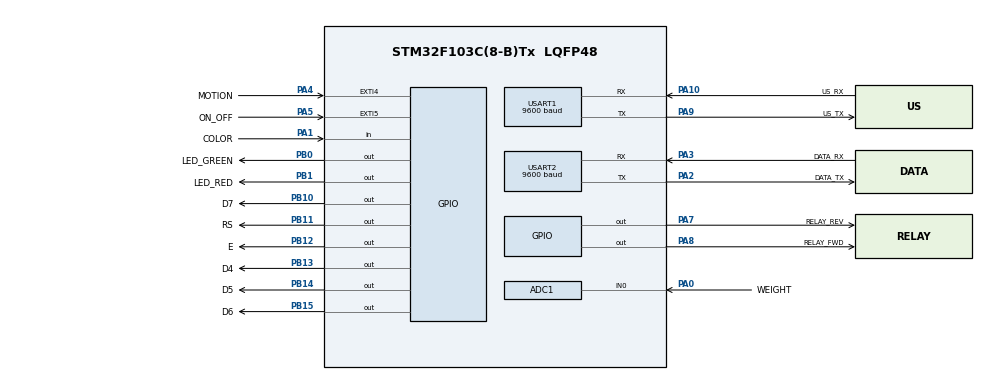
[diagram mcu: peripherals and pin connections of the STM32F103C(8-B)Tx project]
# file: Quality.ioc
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ADC1.Channel-0\#ChannelRegularConversion=ADC_CHANNEL_0
ADC1.NbrOfConversion=1
ADC1.NbrOfConversionFlag=1
ADC1.Rank-0\#ChannelRegularConversion=1
ADC1.SamplingTime-0\#ChannelRegularConversion=ADC_SAMPLETIME_55CYCLES_5
ADC1.master=1
Mcu.Family=STM32F1
Mcu.Name=STM32F103C(8-B)Tx
Mcu.Package=LQFP48
NVIC.EXTI4_IRQn=true\:0\:0\:false\:false\:true\:true\:true\:true
NVIC.EXTI9_5_IRQn=true\:0\:0\:false\:false\:true\:true\:true\:true
NVIC.PriorityGroup=NVIC_PRIORITYGROUP_4
PA0-WKUP.GPIO_Label=WEIGHT
PA0-WKUP.Signal=ADCx_IN0
PA1.GPIO_Label=COLOR
PA1.Signal=GPIO_Input
PA10.GPIO_Label=US_RX
PA10.Mode=Asynchronous
PA10.Signal=USART1_RX
PA2.GPIO_Label=DATA_TX
PA2.Mode=Asynchronous
PA2.Signal=USART2_TX
PA3.GPIO_Label=DATA_RX
PA3.Mode=Asynchronous
PA3.Signal=USART2_RX
PA4.GPIO_Label=MOTION
PA4.Signal=GPXTI4
PA5.GPIO_Label=ON_OFF
PA5.GPIO_ModeDefaultEXTI=GPIO_MODE_IT_FALLING
PA5.GPIO_PuPd=GPIO_PULLUP
PA5.Signal=GPXTI5
PA7.GPIO_Label=RELAY_REV
PA7.Signal=GPIO_Output
PA8.GPIO_Label=RELAY_FWD
PA8.Signal=GPIO_Output
PA9.GPIO_Label=US_TX
PA9.Mode=Asynchronous
PA9.Signal=USART1_TX
PB0.GPIO_Label=LED_GREEN
PB0.Signal=GPIO_Output
PB1.GPIO_Label=LED_RED
PB1.Signal=GPIO_Output
PB10.GPIO_Label=D7
PB10.Signal=GPIO_Output
PB11.GPIO_Label=RS
PB11.Signal=GPIO_Output
PB12.GPIO_Label=E
PB12.Signal=GPIO_Output
PB13.GPIO_Label=D4
PB13.Signal=GPIO_Output
PB14.GPIO_Label=D5
PB14.Signal=GPIO_Output
PB15.GPIO_Label=D6
PB15.Signal=GPIO_Output
ProjectManager.HeapSize=0x200
ProjectManager.StackSize=0x400
ProjectManager.TargetToolchain=MDK-ARM V5.32
RCC.APB1Freq_Value=8000000
RCC.APB2Freq_Value=8000000
SH.ADCx_IN0.0=ADC1_IN0,IN0
USART1.BaudRate=9600
USART1.VirtualMode=VM_ASYNC
USART2.BaudRate=9600
USART2.VirtualMode=VM_ASYNC
VP_SYS_VS_ND.Mode=No_Debug
board=custom

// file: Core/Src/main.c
/* USER CODE BEGIN Header */
/**
  ******************************************************************************
  * @file           : main.c
  * @brief          : Main program body
  ******************************************************************************
  * @attention
  *
  * Copyright (c) 2026 STMicroelectronics.
  * All rights reserved.
  *
  * This software is licensed under terms that can be found in the LICENSE file
  * in the root directory of this software component.
  * If no LICENSE file comes with this software, it is provided AS-IS.
  *
  ******************************************************************************
  */
/* USER CODE END Header */
#include "main.h"

/* USER CODE BEGIN Includes */
#include <stdio.h>
#include <string.h>
/* USER CODE END Includes */

/* USER CODE BEGIN PTD */
#define HISTORY_SIZE 20
#define LCD_COLS     20

typedef enum
{
  LCD_STATE_OFF = 0,
  LCD_STATE_WAIT,
  LCD_STATE_REPORT
}LCD_StateTypeDef;

typedef struct
{
  uint8_t valid;
  uint8_t status;
  uint8_t hour;
  uint8_t minute;
  uint8_t second;
}ProductRecord;
/* USER CODE END PTD */

/* USER CODE BEGIN PD */
#define PRODUCT_PASS    1
#define PRODUCT_REJECT  0
#define WEIGHT_MIN_ADC   100
#define WEIGHT_MAX_ADC   3000
#define LENGTH_MIN_CM    5
#define LENGTH_MAX_CM    12
#define COLOR_OK_STATE   GPIO_PIN_SET
/* USER CODE END PD */

ADC_HandleTypeDef hadc1;

UART_HandleTypeDef huart1;
UART_HandleTypeDef huart2;

/* USER CODE BEGIN PV */
uint8_t system_on = 0;
uint8_t motion_flag = 0;
uint8_t product_busy = 0;

uint32_t total_count = 0;
uint32_t pass_count = 0;
uint32_t reject_count = 0;

uint8_t last_product_valid = 0;
uint8_t last_product_status = PRODUCT_REJECT;

uint16_t adc_value = 0;
uint8_t color_value = 0;

uint8_t relay_busy = 0;
uint8_t relay_phase = 0;
uint32_t relay_tick = 0;

uint8_t report_active = 0;
uint32_t report_tick = 0;

LCD_StateTypeDef lcd_state = LCD_STATE_OFF;

ProductRecord history[HISTORY_SIZE];
uint8_t history_index = 0;

uint16_t length_value = 0;
uint8_t ultra_rx_buf[8];

char lcd_text[21];
char uart_text[160];
/* USER CODE END PV */

void SystemClock_Config(void);
static void MX_GPIO_Init(void);
static void MX_ADC1_Init(void);
static void MX_USART1_UART_Init(void);
static void MX_USART2_UART_Init(void);

void Update_Ultrasonic_Data(void);
/* USER CODE BEGIN PFP */
void LCD_Send4Bit(uint8_t data);
void LCD_SendCommand(uint8_t cmd);
void LCD_SendData(uint8_t data);
void LCD_Init_20x4(void);
void LCD_SetCursor(uint8_t row, uint8_t col);
void LCD_SendString(char *str);
void LCD_PrintLine(uint8_t row, char *text);

void System_ResetAllData(void);
void Get_SystemTime(uint8_t *hour, uint8_t *minute, uint8_t *second);
void Save_History(uint8_t status);
uint8_t Check_ProductStatus(void);
void Process_Product(void);
void Update_LCD(void);
void Update_Relay(void);
void Send_UART_Report(void);
uint16_t Read_Ultrasonic_DistanceCm(void);
/* USER CODE END PFP */

/* USER CODE BEGIN 0 */
void LCD_Send4Bit(uint8_t data)
{
  HAL_GPIO_WritePin(D4_GPIO_Port, D4_Pin, (GPIO_PinState)((data >> 0) & 0x01));
  HAL_GPIO_WritePin(D5_GPIO_Port, D5_Pin, (GPIO_PinState)((data >> 1) & 0x01));
  HAL_GPIO_WritePin(D6_GPIO_Port, D6_Pin, (GPIO_PinState)((data >> 2) & 0x01));
  HAL_GPIO_WritePin(D7_GPIO_Port, D7_Pin, (GPIO_PinState)((data >> 3) & 0x01));

  HAL_GPIO_WritePin(E_GPIO_Port, E_Pin, GPIO_PIN_SET);
  HAL_Delay(1);
  HAL_GPIO_WritePin(E_GPIO_Port, E_Pin, GPIO_PIN_RESET);
  HAL_Delay(1);
}

void LCD_SendCommand(uint8_t cmd)
{
  HAL_GPIO_WritePin(RS_GPIO_Port, RS_Pin, GPIO_PIN_RESET);
  LCD_Send4Bit((cmd >> 4) & 0x0F);
  LCD_Send4Bit(cmd & 0x0F);
}

void LCD_SendData(uint8_t data)
{
  HAL_GPIO_WritePin(RS_GPIO_Port, RS_Pin, GPIO_PIN_SET);
  LCD_Send4Bit((data >> 4) & 0x0F);
  LCD_Send4Bit(data & 0x0F);
}

void LCD_Init_20x4(void)
{
  HAL_Delay(40);

  HAL_GPIO_WritePin(RS_GPIO_Port, RS_Pin, GPIO_PIN_RESET);
  HAL_GPIO_WritePin(E_GPIO_Port, E_Pin, GPIO_PIN_RESET);

  LCD_Send4Bit(0x03);
  HAL_Delay(5);
  LCD_Send4Bit(0x03);
  HAL_Delay(1);
  LCD_Send4Bit(0x03);
  HAL_Delay(1);
  LCD_Send4Bit(0x02);

  LCD_SendCommand(0x28);
  LCD_SendCommand(0x0C);
  LCD_SendCommand(0x06);
  LCD_SendCommand(0x01);
  HAL_Delay(2);
}

void LCD_SetCursor(uint8_t row, uint8_t col)
{
  uint8_t address = 0;

  switch(row)
  {
    case 0: address = 0x00 + col; break;
    case 1: address = 0x40 + col; break;
    case 2: address = 0x14 + col; break;
    case 3: address = 0x54 + col; break;
    default: address = 0x00 + col; break;
  }

  LCD_SendCommand(0x80 | address);
}

void LCD_SendString(char *str)
{
  while(*str)
  {
    LCD_SendData((uint8_t)*str);
    str++;
  }
}

void LCD_PrintLine(uint8_t row, char *text)
{
  uint8_t i;
  LCD_SetCursor(row, 0);

  for(i = 0; i < LCD_COLS; i++)
  {
    if(text[i] != '\0')
      LCD_SendData(text[i]);
    else
      LCD_SendData(' ');
  }
}

void System_ResetAllData(void)
{
  uint8_t i;

  total_count = 0;
  pass_count = 0;
  reject_count = 0;

  last_product_valid = 0;
  last_product_status = PRODUCT_REJECT;

  motion_flag = 0;
  product_busy = 0;

  adc_value = 0;
  color_value = 0;

  relay_busy = 0;
  relay_phase = 0;
  relay_tick = 0;

  report_active = 0;
  report_tick = 0;

  history_index = 0;
  for(i = 0; i < HISTORY_SIZE; i++)
  {
    history[i].valid = 0;
    history[i].status = PRODUCT_REJECT;
    history[i].hour = 0;
    history[i].minute = 0;
    history[i].second = 0;
  }

  HAL_GPIO_WritePin(LED_GREEN_GPIO_Port, LED_GREEN_Pin, GPIO_PIN_RESET);
  HAL_GPIO_WritePin(LED_RED_GPIO_Port, LED_RED_Pin, GPIO_PIN_RESET);
  HAL_GPIO_WritePin(RELAY_FWD_GPIO_Port, RELAY_FWD_Pin, GPIO_PIN_RESET);
  HAL_GPIO_WritePin(RELAY_REV_GPIO_Port, RELAY_REV_Pin, GPIO_PIN_RESET);
}

void Get_SystemTime(uint8_t *hour, uint8_t *minute, uint8_t *second)
{
  uint32_t total_seconds = HAL_GetTick() / 1000;
  *hour   = (total_seconds / 3600) % 24;
  *minute = (total_seconds / 60) % 60;
  *second = total_seconds % 60;
}

void Save_History(uint8_t status)
{
  uint8_t hour, minute, second;

  Get_SystemTime(&hour, &minute, &second);

  history[history_index].valid = 1;
  history[history_index].status = status;
  history[history_index].hour = hour;
  history[history_index].minute = minute;
  history[history_index].second = second;

  history_index++;
  if(history_index >= HISTORY_SIZE)
    history_index = 0;
}

uint8_t Check_ProductStatus(void)
{
  uint8_t weight_ok;
  uint8_t color_ok;
	uint8_t length_ok = 0;

	Update_Ultrasonic_Data();
  HAL_ADC_Start(&hadc1);
	HAL_Delay(2);
  HAL_ADC_PollForConversion(&hadc1, 20);
  adc_value = HAL_ADC_GetValue(&hadc1);
  HAL_ADC_Stop(&hadc1);

	color_value = (uint8_t)HAL_GPIO_ReadPin(COLOR_GPIO_Port, COLOR_Pin);

  if((adc_value >= WEIGHT_MIN_ADC) && (adc_value <= WEIGHT_MAX_ADC))
    weight_ok = 1;
  else
    weight_ok = 0;

  if(color_value == COLOR_OK_STATE)
    color_ok = 1;
  else
    color_ok = 0;

	if((length_value >= LENGTH_MIN_CM) && (length_value <= LENGTH_MAX_CM))
		length_ok = 1;
	else
		length_ok = 0;

  if((weight_ok == 1))
    return PRODUCT_PASS;
  else
    return PRODUCT_REJECT;
}

void Send_UART_Report(void)
{
  uint16_t len;
  uint8_t i;
  uint8_t index;

  len = (uint16_t)sprintf(uart_text, "TOTAL=%lu,PASS=%lu,REJECT=%lu\r\n",
                          total_count, pass_count, reject_count);
  HAL_UART_Transmit(&huart2, (uint8_t*)uart_text, len, 200);

  len = (uint16_t)sprintf(uart_text, "LAST20:\r\n");
  HAL_UART_Transmit(&huart2, (uint8_t*)uart_text, len, 200);

  for(i = 0; i < HISTORY_SIZE; i++)
  {
    index = (history_index + i) % HISTORY_SIZE;

    if(history[index].valid == 1)
    {
      len = (uint16_t)sprintf(uart_text, "%02d) %s %02d:%02d:%02d\r\n",
                              i + 1,
                              (history[index].status == PRODUCT_PASS) ? "PASS" : "REJECT",
                              history[index].hour,
                              history[index].minute,
                              history[index].second);
      HAL_UART_Transmit(&huart2, (uint8_t*)uart_text, len, 200);
    }
  }
}

void Process_Product(void)
{
  uint8_t status;

  motion_flag = 0;
  product_busy = 1;

  status = Check_ProductStatus();
  total_count++;
  last_product_valid = 1;
  last_product_status = status;

  if(status == PRODUCT_PASS)
  {
    pass_count++;
    HAL_GPIO_WritePin(LED_GREEN_GPIO_Port, LED_GREEN_Pin, GPIO_PIN_SET);
    HAL_GPIO_WritePin(LED_RED_GPIO_Port, LED_RED_Pin, GPIO_PIN_RESET);

    HAL_GPIO_WritePin(RELAY_FWD_GPIO_Port, RELAY_FWD_Pin, GPIO_PIN_RESET);
    HAL_GPIO_WritePin(RELAY_REV_GPIO_Port, RELAY_REV_Pin, GPIO_PIN_RESET);
  }
  else
  {
    reject_count++;
    HAL_GPIO_WritePin(LED_GREEN_GPIO_Port, LED_GREEN_Pin, GPIO_PIN_RESET);
    HAL_GPIO_WritePin(LED_RED_GPIO_Port, LED_RED_Pin, GPIO_PIN_SET);

    HAL_GPIO_WritePin(RELAY_FWD_GPIO_Port, RELAY_FWD_Pin, GPIO_PIN_SET);
    HAL_GPIO_WritePin(RELAY_REV_GPIO_Port, RELAY_REV_Pin, GPIO_PIN_RESET);

    relay_busy = 1;
    relay_phase = 1;
    relay_tick = HAL_GetTick();
  }

  Save_History(status);
  sprintf(uart_text, "ADC=%u COLOR=%u LENGTH=%u STATUS=%s\r\n",
        adc_value,
        color_value,
				length_value,
        (status == PRODUCT_PASS) ? "PASS" : "REJECT");
  HAL_UART_Transmit(&huart2, (uint8_t*)uart_text, strlen(uart_text), 200);

  Send_UART_Report();

  report_active = 1;
  report_tick = HAL_GetTick();
  lcd_state = LCD_STATE_REPORT;

  product_busy = 0;
}

void Update_Relay(void)
{
  if(relay_busy == 1)
  {
    if(relay_phase == 1)
    {
      if((HAL_GetTick() - relay_tick) >= 500)
      {
        HAL_GPIO_WritePin(RELAY_FWD_GPIO_Port, RELAY_FWD_Pin, GPIO_PIN_RESET);
        HAL_GPIO_WritePin(RELAY_REV_GPIO_Port, RELAY_REV_Pin, GPIO_PIN_SET);

        relay_phase = 2;
        relay_tick = HAL_GetTick();
      }
    }
    else if(relay_phase == 2)
    {
      if((HAL_GetTick() - relay_tick) >= 800)
      {
        HAL_GPIO_WritePin(RELAY_FWD_GPIO_Port, RELAY_FWD_Pin, GPIO_PIN_RESET);
        HAL_GPIO_WritePin(RELAY_REV_GPIO_Port, RELAY_REV_Pin, GPIO_PIN_RESET);

        relay_phase = 0;
        relay_busy = 0;
      }
    }
  }
}

void Update_LCD(void)
{
  uint8_t hour, minute, second;

  Get_SystemTime(&hour, &minute, &second);

  switch(lcd_state)
  {
    case LCD_STATE_OFF:
      LCD_PrintLine(0, "TIME 00:00:00       ");
      LCD_PrintLine(1, "TOTAL: 0            ");
      LCD_PrintLine(2, "PASS:0 REJECT:0     ");
      LCD_PrintLine(3, "SYSTEM OFF          ");
      break;

    case LCD_STATE_WAIT:
      sprintf(lcd_text, "TIME %02d:%02d:%02d       ", hour, minute, second);
      LCD_PrintLine(0, lcd_text);

      sprintf(lcd_text, "TOTAL: %lu          ", total_count);
      LCD_PrintLine(1, lcd_text);

      sprintf(lcd_text, "PASS:%lu REJECT:%lu", pass_count, reject_count);
      LCD_PrintLine(2, lcd_text);

      LCD_PrintLine(3, "WAITING PRODUCT     ");
      break;

    case LCD_STATE_REPORT:
      sprintf(lcd_text, "TIME %02d:%02d:%02d       ", hour, minute, second);
      LCD_PrintLine(0, lcd_text);

      sprintf(lcd_text, "TOTAL: %lu          ", total_count);
      LCD_PrintLine(1, lcd_text);

      sprintf(lcd_text, "PASS:%lu REJECT:%lu", pass_count, reject_count);
      LCD_PrintLine(2, lcd_text);

			if((HAL_GetTick() - report_tick) >= 2000)
			{
				report_active = 0;
				lcd_state = LCD_STATE_WAIT;

				HAL_GPIO_WritePin(LED_GREEN_GPIO_Port, LED_GREEN_Pin, GPIO_PIN_RESET);
				HAL_GPIO_WritePin(LED_RED_GPIO_Port, LED_RED_Pin, GPIO_PIN_RESET);
			}

      if(last_product_valid == 1)
      {
        if(last_product_status == PRODUCT_PASS)
          LCD_PrintLine(3, "LAST: PASS          ");
        else
          LCD_PrintLine(3, "LAST: REJECT        ");
      }
      else
      {
        LCD_PrintLine(3, "NO PRODUCT          ");
      }

      if((HAL_GetTick() - report_tick) >= 2000)
      {
        report_active = 0;
        lcd_state = LCD_STATE_WAIT;
      }
      break;

    default:
      lcd_state = LCD_STATE_OFF;
      break;
  }
}

void HAL_GPIO_EXTI_Callback(uint16_t GPIO_Pin)
{
  if(GPIO_Pin == ON_OFF_Pin)
  {
    if(system_on == 0)
    {
      system_on = 1;
      System_ResetAllData();
      lcd_state = LCD_STATE_WAIT;
    }
    else
    {
      system_on = 0;
      System_ResetAllData();
      lcd_state = LCD_STATE_OFF;
    }
  }

  if(GPIO_Pin == MOTION_Pin)
  {
    if((system_on == 1) && (product_busy == 0))
      motion_flag = 1;
  }
}
void Update_Ultrasonic_Data(void)
{
  uint8_t cmd = 0x55;

  HAL_UART_Transmit(&huart1, &cmd, 1, 50);

  if(HAL_UART_Receive(&huart1, ultra_rx_buf, 2, 100) == HAL_OK)
  {
    length_value = (ultra_rx_buf[0] << 8) | ultra_rx_buf[1];
  }
}

/* USER CODE END 0 */

int main(void)
{

  /* MCU Configuration--------------------------------------------------------*/

  /* Reset of all peripherals, Initializes the Flash interface and the Systick. */
  HAL_Init();

  /* Configure the system clock */
  SystemClock_Config();

  /* Initialize all configured peripherals */
  MX_GPIO_Init();
  MX_ADC1_Init();
  MX_USART1_UART_Init();
  MX_USART2_UART_Init();
  /* USER CODE BEGIN 2 */

  LCD_Init_20x4();
  System_ResetAllData();
  lcd_state = LCD_STATE_OFF;
  Update_LCD();
  /* USER CODE END 2 */

  /* Infinite loop */
  while (1)
  {

		if(system_on == 0)
		{
			lcd_state = LCD_STATE_OFF;
		}
		else
		{
			if((motion_flag == 1) && (product_busy == 0))
			{
				Process_Product();
			}

			if((report_active == 0) && (lcd_state != LCD_STATE_REPORT))
			{
				lcd_state = LCD_STATE_WAIT;
			}
		}

		Update_Relay();
		Update_LCD();

		HAL_Delay(100);

  }
}

void SystemClock_Config(void)
{
  RCC_OscInitTypeDef RCC_OscInitStruct = {0};
  RCC_ClkInitTypeDef RCC_ClkInitStruct = {0};
  RCC_PeriphCLKInitTypeDef PeriphClkInit = {0};

  /** Initializes the RCC Oscillators according to the specified parameters
  * in the RCC_OscInitTypeDef structure.
  */
  RCC_OscInitStruct.OscillatorType = RCC_OSCILLATORTYPE_HSI;
  RCC_OscInitStruct.HSIState = RCC_HSI_ON;
  RCC_OscInitStruct.HSICalibrationValue = RCC_HSICALIBRATION_DEFAULT;
  RCC_OscInitStruct.PLL.PLLState = RCC_PLL_NONE;
  if (HAL_RCC_OscConfig(&RCC_OscInitStruct) != HAL_OK)
  {
    Error_Handler();
  }

  /** Initializes the CPU, AHB and APB buses clocks
  */
  RCC_ClkInitStruct.ClockType = RCC_CLOCKTYPE_HCLK|RCC_CLOCKTYPE_SYSCLK
                              |RCC_CLOCKTYPE_PCLK1|RCC_CLOCKTYPE_PCLK2;
  RCC_ClkInitStruct.SYSCLKSource = RCC_SYSCLKSOURCE_HSI;
  RCC_ClkInitStruct.AHBCLKDivider = RCC_SYSCLK_DIV1;
  RCC_ClkInitStruct.APB1CLKDivider = RCC_HCLK_DIV1;
  RCC_ClkInitStruct.APB2CLKDivider = RCC_HCLK_DIV1;

  if (HAL_RCC_ClockConfig(&RCC_ClkInitStruct, FLASH_LATENCY_0) != HAL_OK)
  {
    Error_Handler();
  }
  PeriphClkInit.PeriphClockSelection = RCC_PERIPHCLK_ADC;
  PeriphClkInit.AdcClockSelection = RCC_ADCPCLK2_DIV2;
  if (HAL_RCCEx_PeriphCLKConfig(&PeriphClkInit) != HAL_OK)
  {
    Error_Handler();
  }
}

static void MX_ADC1_Init(void)
{

  ADC_ChannelConfTypeDef sConfig = {0};

  /** Common config
  */
  hadc1.Instance = ADC1;
  hadc1.Init.ScanConvMode = ADC_SCAN_DISABLE;
  hadc1.Init.ContinuousConvMode = DISABLE;
  hadc1.Init.DiscontinuousConvMode = DISABLE;
  hadc1.Init.ExternalTrigConv = ADC_SOFTWARE_START;
  hadc1.Init.DataAlign = ADC_DATAALIGN_RIGHT;
  hadc1.Init.NbrOfConversion = 1;
  if (HAL_ADC_Init(&hadc1) != HAL_OK)
  {
    Error_Handler();
  }

  /** Configure Regular Channel
  */
  sConfig.Channel = ADC_CHANNEL_0;
  sConfig.Rank = ADC_REGULAR_RANK_1;
  sConfig.SamplingTime = ADC_SAMPLETIME_55CYCLES_5;
  if (HAL_ADC_ConfigChannel(&hadc1, &sConfig) != HAL_OK)
  {
    Error_Handler();
  }

}

static void MX_USART1_UART_Init(void)
{

  huart1.Instance = USART1;
  huart1.Init.BaudRate = 9600;
  huart1.Init.WordLength = UART_WORDLENGTH_8B;
  huart1.Init.StopBits = UART_STOPBITS_1;
  huart1.Init.Parity = UART_PARITY_NONE;
  huart1.Init.Mode = UART_MODE_TX_RX;
  huart1.Init.HwFlowCtl = UART_HWCONTROL_NONE;
  huart1.Init.OverSampling = UART_OVERSAMPLING_16;
  if (HAL_UART_Init(&huart1) != HAL_OK)
  {
    Error_Handler();
  }

}

static void MX_USART2_UART_Init(void)
{

  huart2.Instance = USART2;
  huart2.Init.BaudRate = 9600;
  huart2.Init.WordLength = UART_WORDLENGTH_8B;
  huart2.Init.StopBits = UART_STOPBITS_1;
  huart2.Init.Parity = UART_PARITY_NONE;
  huart2.Init.Mode = UART_MODE_TX_RX;
  huart2.Init.HwFlowCtl = UART_HWCONTROL_NONE;
  huart2.Init.OverSampling = UART_OVERSAMPLING_16;
  if (HAL_UART_Init(&huart2) != HAL_OK)
  {
    Error_Handler();
  }

}

static void MX_GPIO_Init(void)
{
  GPIO_InitTypeDef GPIO_InitStruct = {0};

  /* GPIO Ports Clock Enable */
  __HAL_RCC_GPIOA_CLK_ENABLE();
  __HAL_RCC_GPIOB_CLK_ENABLE();

  /*Configure GPIO pin Output Level */
  HAL_GPIO_WritePin(GPIOA, RELAY_REV_Pin|RELAY_FWD_Pin, GPIO_PIN_RESET);

  /*Configure GPIO pin Output Level */
  HAL_GPIO_WritePin(GPIOB, LED_GREEN_Pin|LED_RED_Pin|D7_Pin|RS_Pin
                          |E_Pin|D4_Pin|D5_Pin|D6_Pin, GPIO_PIN_RESET);

  /*Configure GPIO pin : COLOR_Pin */
  GPIO_InitStruct.Pin = COLOR_Pin;
  GPIO_InitStruct.Mode = GPIO_MODE_INPUT;
  GPIO_InitStruct.Pull = GPIO_NOPULL;
  HAL_GPIO_Init(COLOR_GPIO_Port, &GPIO_InitStruct);

  /*Configure GPIO pin : MOTION_Pin */
  GPIO_InitStruct.Pin = MOTION_Pin;
  GPIO_InitStruct.Mode = GPIO_MODE_IT_RISING;
  GPIO_InitStruct.Pull = GPIO_NOPULL;
  HAL_GPIO_Init(MOTION_GPIO_Port, &GPIO_InitStruct);

  /*Configure GPIO pin : ON_OFF_Pin */
  GPIO_InitStruct.Pin = ON_OFF_Pin;
  GPIO_InitStruct.Mode = GPIO_MODE_IT_FALLING;
  GPIO_InitStruct.Pull = GPIO_PULLUP;
  HAL_GPIO_Init(ON_OFF_GPIO_Port, &GPIO_InitStruct);

  /*Configure GPIO pins : RELAY_REV_Pin RELAY_FWD_Pin */
  GPIO_InitStruct.Pin = RELAY_REV_Pin|RELAY_FWD_Pin;
  GPIO_InitStruct.Mode = GPIO_MODE_OUTPUT_PP;
  GPIO_InitStruct.Pull = GPIO_NOPULL;
  GPIO_InitStruct.Speed = GPIO_SPEED_FREQ_LOW;
  HAL_GPIO_Init(GPIOA, &GPIO_InitStruct);

  /*Configure GPIO pins : LED_GREEN_Pin LED_RED_Pin D7_Pin RS_Pin
                           E_Pin D4_Pin D5_Pin D6_Pin */
  GPIO_InitStruct.Pin = LED_GREEN_Pin|LED_RED_Pin|D7_Pin|RS_Pin
                          |E_Pin|D4_Pin|D5_Pin|D6_Pin;
  GPIO_InitStruct.Mode = GPIO_MODE_OUTPUT_PP;
  GPIO_InitStruct.Pull = GPIO_NOPULL;
  GPIO_InitStruct.Speed = GPIO_SPEED_FREQ_LOW;
  HAL_GPIO_Init(GPIOB, &GPIO_InitStruct);

  /* EXTI interrupt init*/
  HAL_NVIC_SetPriority(EXTI4_IRQn, 0, 0);
  HAL_NVIC_EnableIRQ(EXTI4_IRQn);

  HAL_NVIC_SetPriority(EXTI9_5_IRQn, 0, 0);
  HAL_NVIC_EnableIRQ(EXTI9_5_IRQn);

}

void Error_Handler(void)
{
  __disable_irq();
  while (1)
  {
  }
}
